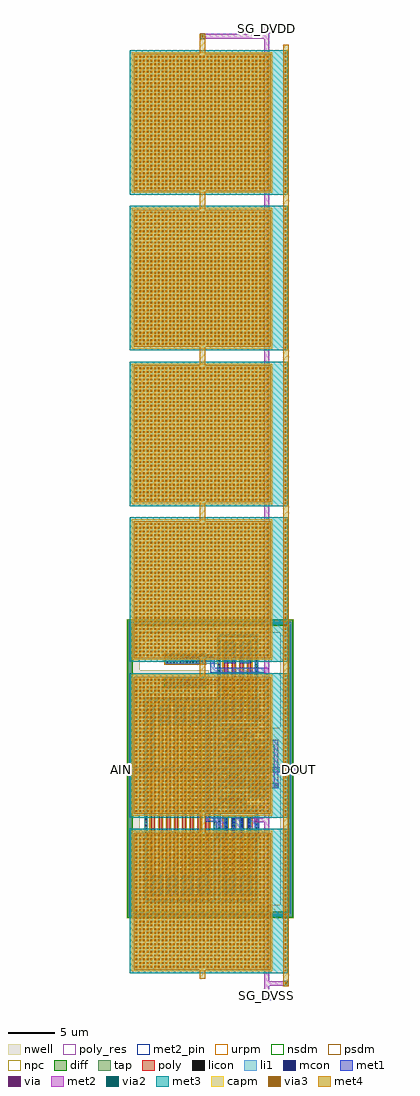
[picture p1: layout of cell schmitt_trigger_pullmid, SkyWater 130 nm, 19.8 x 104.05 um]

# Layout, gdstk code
import gdstk
lib = gdstk.Library(unit=1e-6, precision=1e-09)
def R(c, l, rs):  # rectangles x0, y0, x1, y1
    for r in rs: c.add(gdstk.rectangle(r[:2], r[2:], *l))
def A(c, l, x, y, w, h, nx, ny, dx, dy):  # array of equal rectangles
    R(c, l, [(x+i*dx, y+j*dy, x+i*dx+w, y+j*dy+h) for i in range(nx) for j in range(ny)])
nwell = (64, 20)
diff = (65, 20)
tap = (65, 44)
poly_res = (66, 13)
poly = (66, 20)
licon = (66, 44)
li1 = (67, 20)
mcon = (67, 44)
met1 = (68, 20)
via = (68, 44)
met2_pin = (69, 16)
met2 = (69, 20)
via2 = (69, 44)
met3 = (70, 20)
via3 = (70, 44)
met4 = (71, 20)
urpm = (79, 20)
capm = (89, 44)
nsdm = (93, 44)
psdm = (94, 20)
npc = (95, 20)

schmitt_trigger_pullmid = lib.new_cell('schmitt_trigger_pullmid')
R(schmitt_trigger_pullmid, nwell, [(7.955,-11.245,25.795,-9.815), (7.955,-9.815,9.385,12.7), (24.365,-9.815,25.795,4.6), (17.65,4.6,20.84,6.86), (20.75,4.6,23.01,7.79), (22.6,4.6,25.795,7.7), (17.65,6.8,20.84,9.06), (20.8,7.7,25.795,9.05), (24.365,9.05,25.795,18.965), (7.955,12.7,16.7,15.2), (7.955,15.2,9.385,18.965), (7.955,18.965,9.4,19.18), (24.35,18.965,25.795,19.18), (7.955,19.18,25.795,20.625)])
R(schmitt_trigger_pullmid, diff, [(18.75,0.99,19.75,1.77), (21.49,2.55,22.27,3.55), (18.75,3.09,19.75,3.87), (18.745,5.29,19.745,6.17), (21.44,5.695,22.32,6.695), (18.745,7.49,19.745,8.37)])
R(schmitt_trigger_pullmid, tap, [(8.14,-11.06,25.61,-10.69), (8.14,-10.69,8.51,20.07), (25.24,-10.69,25.61,20.07), (9.94,-9.47,17.4,-9.3), (17.73,-9.47,21.87,-9.3), (9.94,-9.3,10.11,12.02), (17.23,-9.3,17.4,12.02), (17.73,-9.3,17.9,-0.02), (21.7,-9.3,21.87,-0.02), (17.73,-0.02,21.87,0.15), (17.88,0.48,18.05,2.28), (18.05,0.48,20.45,0.65), (20.45,0.48,20.62,2.28), (20.98,1.68,22.78,1.85), (20.98,1.85,21.15,4.25), (22.61,1.85,22.78,4.25), (18.05,2.11,20.45,2.28), (17.88,2.58,18.05,4.38), (18.05,2.58,20.45,2.75), (20.45,2.58,20.62,4.38), (18.05,4.21,20.45,4.38), (20.98,4.25,22.78,4.42), (17.83,4.78,18,6.68), (18,4.78,20.49,4.95), (20.49,4.78,20.66,6.68), (20.93,4.78,22.83,4.95), (20.93,4.95,21.1,7.44), (22.66,4.95,22.83,7.44), (18,6.51,20.49,6.68), (17.83,6.98,18,8.88), (18,6.98,20.49,7.15), (20.49,6.98,20.66,8.88), (20.93,7.44,22.83,7.61), (18,8.71,20.49,8.88), (17.73,9.31,21.87,9.48), (17.73,9.48,17.9,18.76), (21.7,9.48,21.87,18.76), (9.94,12.02,17.4,12.19), (12.08,13.4,16.32,14.4), (12.08,15.9,16.32,16.9), (17.73,18.76,21.87,18.93), (8.14,20.07,25.61,20.44)])
A(schmitt_trigger_pullmid, poly_res, 10.59, -6.74, 0.35, 16.2, 8, 1, 0.83, 0)
A(schmitt_trigger_pullmid, poly_res, 18.38, -6.74, 0.35, 4.16, 4, 2, 0.83, 18.78)
A(schmitt_trigger_pullmid, poly, 10.59, -8.82, 0.35, 20.36, 8, 1, 0.83, 0)
A(schmitt_trigger_pullmid, poly, 18.38, -8.82, 0.35, 8.32, 4, 2, 0.83, 18.78)
A(schmitt_trigger_pullmid, poly, 21.715, 2.11, 0.33, 0.33, 1, 3, 0, 1.55)
R(schmitt_trigger_pullmid, poly, [(18.31,1.215,18.64,1.545), (19.86,1.215,20.19,1.545), (18.64,1.28,19.86,1.48), (21.78,2.44,21.98,3.66), (18.31,3.315,18.64,3.645), (19.86,3.315,20.19,3.645), (18.64,3.38,19.86,3.58), (21.73,5.54,22.03,6.85), (18.26,5.565,18.59,5.895), (19.9,5.565,20.23,5.895), (18.59,5.58,19.9,5.88), (21.715,6.85,22.045,7.18), (18.26,7.765,18.59,8.095), (19.9,7.765,20.23,8.095), (18.59,7.78,19.9,8.08)])
A(schmitt_trigger_pullmid, licon, 8.63, -10.96, 0.17, 0.17, 49, 2, 0.34, 31.13)
A(schmitt_trigger_pullmid, licon, 8.24, -10.525, 0.17, 0.17, 1, 90, 0, 0.34)
A(schmitt_trigger_pullmid, licon, 25.34, -10.525, 0.17, 0.17, 1, 90, 0, 0.34)
A(schmitt_trigger_pullmid, licon, 10.525, -9.47, 0.17, 0.17, 19, 2, 0.34, 21.49)
A(schmitt_trigger_pullmid, licon, 18.355, -9.47, 0.17, 0.17, 9, 2, 0.34, 9.45)
A(schmitt_trigger_pullmid, licon, 9.94, -8.925, 0.17, 0.17, 1, 61, 0, 0.34)
A(schmitt_trigger_pullmid, licon, 17.23, -8.925, 0.17, 0.17, 1, 61, 0, 0.34)
A(schmitt_trigger_pullmid, licon, 17.73, -8.825, 0.17, 0.17, 1, 25, 0, 0.34)
A(schmitt_trigger_pullmid, licon, 21.7, -8.825, 0.17, 0.17, 1, 25, 0, 0.34)
A(schmitt_trigger_pullmid, licon, 10.67, -8.74, 0.19, 2, 8, 2, 0.83, 18.2)
A(schmitt_trigger_pullmid, licon, 18.46, -8.74, 0.19, 2, 4, 2, 0.83, 6.16)
A(schmitt_trigger_pullmid, licon, 18.485, 0.48, 0.17, 0.17, 5, 2, 0.34, 1.63)
A(schmitt_trigger_pullmid, licon, 18.825, 1.05, 0.17, 0.17, 3, 2, 0.34, 0.49)
A(schmitt_trigger_pullmid, licon, 21.795, 2.19, 0.17, 0.17, 1, 3, 0, 1.55)
A(schmitt_trigger_pullmid, licon, 20.98, 2.285, 0.17, 0.17, 1, 5, 0, 0.34)
A(schmitt_trigger_pullmid, licon, 22.61, 2.285, 0.17, 0.17, 1, 5, 0, 0.34)
A(schmitt_trigger_pullmid, licon, 18.485, 2.58, 0.17, 0.17, 5, 2, 0.34, 1.63)
A(schmitt_trigger_pullmid, licon, 21.55, 2.625, 0.17, 0.17, 1, 3, 0, 0.34)
A(schmitt_trigger_pullmid, licon, 22.04, 2.625, 0.17, 0.17, 1, 3, 0, 0.34)
A(schmitt_trigger_pullmid, licon, 18.825, 3.15, 0.17, 0.17, 3, 2, 0.34, 0.49)
A(schmitt_trigger_pullmid, licon, 18.31, 4.78, 0.17, 0.17, 6, 2, 0.34, 1.73)
A(schmitt_trigger_pullmid, licon, 21.455, 4.78, 0.17, 0.17, 3, 2, 0.34, 2.66)
A(schmitt_trigger_pullmid, licon, 20.93, 5.26, 0.17, 0.17, 1, 6, 0, 0.34)
A(schmitt_trigger_pullmid, licon, 22.66, 5.26, 0.17, 0.17, 1, 6, 0, 0.34)
A(schmitt_trigger_pullmid, licon, 17.83, 5.305, 0.17, 0.17, 1, 3, 0, 0.34)
A(schmitt_trigger_pullmid, licon, 20.49, 5.305, 0.17, 0.17, 1, 3, 0, 0.34)
A(schmitt_trigger_pullmid, licon, 18.82, 5.35, 0.17, 0.17, 3, 2, 0.34, 0.59)
A(schmitt_trigger_pullmid, licon, 21.5, 5.77, 0.17, 0.17, 1, 3, 0, 0.34)
A(schmitt_trigger_pullmid, licon, 22.09, 5.77, 0.17, 0.17, 1, 3, 0, 0.34)
A(schmitt_trigger_pullmid, licon, 18.31, 6.98, 0.17, 0.17, 6, 2, 0.34, 1.73)
A(schmitt_trigger_pullmid, licon, 17.83, 7.505, 0.17, 0.17, 1, 3, 0, 0.34)
A(schmitt_trigger_pullmid, licon, 20.49, 7.505, 0.17, 0.17, 1, 3, 0, 0.34)
A(schmitt_trigger_pullmid, licon, 18.82, 7.55, 0.17, 0.17, 3, 2, 0.34, 0.59)
A(schmitt_trigger_pullmid, licon, 18.355, 9.31, 0.17, 0.17, 9, 2, 0.34, 9.45)
A(schmitt_trigger_pullmid, licon, 17.73, 9.955, 0.17, 0.17, 1, 25, 0, 0.34)
A(schmitt_trigger_pullmid, licon, 21.7, 9.955, 0.17, 0.17, 1, 25, 0, 0.34)
A(schmitt_trigger_pullmid, licon, 18.46, 10.04, 0.19, 2, 4, 2, 0.83, 6.16)
A(schmitt_trigger_pullmid, licon, 12.245, 13.475, 0.17, 0.17, 12, 3, 0.34, 0.34)
A(schmitt_trigger_pullmid, licon, 12.245, 15.975, 0.17, 0.17, 12, 3, 0.34, 0.34)
R(schmitt_trigger_pullmid, licon, [(17.88,1.125,18.05,1.295), (20.45,1.125,20.62,1.295), (18.39,1.295,18.56,1.465), (19.94,1.295,20.11,1.465), (17.88,1.465,18.05,1.635), (20.45,1.465,20.62,1.635), (21.625,1.68,21.795,1.85), (21.965,1.68,22.135,1.85), (17.88,3.225,18.05,3.395), (20.45,3.225,20.62,3.395), (18.39,3.395,18.56,3.565), (19.94,3.395,20.11,3.565), (17.88,3.565,18.05,3.735), (20.45,3.565,20.62,3.735), (21.625,4.25,21.795,4.42), (21.965,4.25,22.135,4.42), (18.34,5.645,18.51,5.815), (19.98,5.645,20.15,5.815), (21.795,6.93,21.965,7.1), (18.34,7.845,18.51,8.015), (19.98,7.845,20.15,8.015)])
A(schmitt_trigger_pullmid, li1, 10.59, -8.82, 0.35, 2.16, 8, 2, 0.83, 18.2)
A(schmitt_trigger_pullmid, li1, 18.38, -8.82, 0.35, 2.16, 4, 2, 0.83, 6.16)
A(schmitt_trigger_pullmid, li1, 21.715, 2.19, 0.33, 0.17, 1, 3, 0, 1.55)
A(schmitt_trigger_pullmid, li1, 18.38, 9.96, 0.35, 2.16, 4, 2, 0.83, 6.16)
R(schmitt_trigger_pullmid, li1, [(8.24,-10.96,25.51,-10.79), (8.24,-10.79,8.41,20.17), (25.34,-10.79,25.51,20.17), (9.87,-9.57,21.94,-9.54), (9.84,-9.54,21.97,-9.2), (9.94,-9.47,17.4,-9.3), (17.73,-9.47,21.87,-9.3), (9.94,-9.3,10.11,12.02), (17.23,-9.3,17.4,12.02), (17.73,-9.3,17.9,-0.02), (21.7,-9.3,21.87,-0.02), (9.84,-9.2,10.21,11.92), (17.17,-9.2,18,-0.12), (21.6,-9.2,21.97,-0.12), (17.17,-0.12,21.97,0.22), (17.73,-0.02,21.87,0.15), (17.17,0.22,21.94,0.25), (17.17,0.25,20.72,0.535), (17.88,0.48,18.05,2.28), (18.05,0.48,20.45,0.65), (20.45,0.48,20.62,2.28), (17.17,0.535,17.54,9.21), (17.78,0.535,20.72,0.75), (17.78,0.75,18.15,2.01), (20.35,0.75,20.72,1.58), (18.73,1.05,19.77,1.22), (18.39,1.215,18.56,1.545), (19.94,1.215,20.11,1.545), (18.73,1.54,19.77,1.71), (20.35,1.58,22.85,1.61), (20.35,1.61,22.88,1.95), (20.98,1.68,22.78,1.85), (20.98,1.85,21.15,4.25), (22.61,1.85,22.78,4.25), (20.35,1.95,21.25,2.01), (22.51,1.95,22.88,4.11), (17.78,2.01,21.25,2.85), (18.05,2.11,20.45,2.28), (21.55,2.53,21.72,3.57), (22.04,2.53,22.21,3.57), (17.88,2.58,18.05,4.38), (18.05,2.58,20.45,2.75), (20.45,2.58,20.62,4.38), (17.78,2.85,18.15,4.11), (20.35,2.85,21.25,4.11), (18.73,3.15,19.77,3.32), (18.39,3.315,18.56,3.645), (19.94,3.315,20.11,3.645), (18.73,3.64,19.77,3.81), (17.78,4.11,22.885,4.45), (18.05,4.21,20.45,4.38), (20.98,4.25,22.78,4.42), (17.81,4.45,22.885,4.48), (17.76,4.68,22.935,4.71), (17.73,4.71,22.935,5.05), (17.83,4.78,18,6.68), (18,4.78,20.49,4.95), (20.49,4.78,20.66,6.68), (20.93,4.78,22.83,4.95), (20.93,4.95,21.1,7.44), (22.66,4.95,22.83,7.44), (17.73,5.05,18.1,6.41), (20.39,5.05,21.2,6.41), (22.56,5.05,22.93,7.34), (18.725,5.35,19.765,5.52), (18.34,5.565,18.51,5.895), (19.98,5.565,20.15,5.895), (21.5,5.675,21.67,6.715), (22.09,5.675,22.26,6.715), (18.725,5.94,19.765,6.11), (17.73,6.41,21.2,7.25), (18,6.51,20.49,6.68), (21.715,6.93,22.045,7.1), (17.83,6.98,18,8.88), (18,6.98,20.49,7.15), (20.49,6.98,20.66,8.88), (17.73,7.25,18.1,8.61), (20.39,7.25,21.2,7.34), (20.39,7.34,22.93,7.68), (20.93,7.44,22.83,7.61), (18.725,7.55,19.765,7.72), (20.39,7.68,22.9,7.71), (20.39,7.71,21.55,8.55), (18.34,7.765,18.51,8.095), (19.98,7.765,20.15,8.095), (18.725,8.14,19.765,8.31), (20.39,8.55,20.76,8.61), (17.73,8.61,20.76,8.95), (18,8.71,20.49,8.88), (17.76,8.95,20.73,8.98), (17.17,9.21,21.94,9.24), (17.17,9.24,21.97,9.58), (17.73,9.31,21.87,9.48), (17.73,9.48,17.9,18.76), (21.7,9.48,21.87,18.76), (17.17,9.58,18,11.92), (21.6,9.58,21.97,18.66), (9.84,11.92,18,12.26), (9.94,12.02,17.4,12.19), (9.87,12.26,18,12.29), (17.63,12.29,18,15.9), (12.12,13.4,16.28,14.4), (12.12,15.9,18,16.9), (17.63,16.9,18,18.66), (17.63,18.66,21.97,19), (17.73,18.76,21.87,18.93), (17.66,19,21.94,19.03), (8.24,20.17,25.51,20.34)])
A(schmitt_trigger_pullmid, mcon, 10.68, -8.725, 0.17, 0.17, 8, 6, 0.83, 0.36)
A(schmitt_trigger_pullmid, mcon, 18.47, -8.725, 0.17, 0.17, 4, 6, 0.83, 0.36)
A(schmitt_trigger_pullmid, mcon, 18.47, -2.57, 0.17, 0.17, 4, 6, 0.83, 0.36)
A(schmitt_trigger_pullmid, mcon, 21.795, 2.19, 0.17, 0.17, 1, 3, 0, 1.55)
A(schmitt_trigger_pullmid, mcon, 10.68, 9.47, 0.17, 0.17, 8, 6, 0.83, 0.36)
A(schmitt_trigger_pullmid, mcon, 18.47, 10.055, 0.17, 0.17, 4, 6, 0.83, 0.36)
A(schmitt_trigger_pullmid, mcon, 18.47, 16.21, 0.17, 0.17, 4, 6, 0.83, 0.36)
R(schmitt_trigger_pullmid, mcon, [(18.985,1.05,19.155,1.22), (19.345,1.05,19.515,1.22), (18.39,1.295,18.56,1.465), (19.94,1.295,20.11,1.465), (18.985,1.54,19.155,1.71), (19.345,1.54,19.515,1.71), (21.55,2.785,21.72,2.955), (22.04,2.785,22.21,2.955), (21.55,3.145,21.72,3.315), (22.04,3.145,22.21,3.315), (18.985,3.15,19.155,3.32), (19.345,3.15,19.515,3.32), (18.39,3.395,18.56,3.565), (19.94,3.395,20.11,3.565), (18.985,3.64,19.155,3.81), (19.345,3.64,19.515,3.81), (18.98,5.35,19.15,5.52), (19.34,5.35,19.51,5.52), (18.34,5.645,18.51,5.815), (19.98,5.645,20.15,5.815), (21.5,5.93,21.67,6.1), (22.09,5.93,22.26,6.1), (18.98,5.94,19.15,6.11), (19.34,5.94,19.51,6.11), (21.5,6.29,21.67,6.46), (22.09,6.29,22.26,6.46), (21.795,6.93,21.965,7.1), (18.98,7.55,19.15,7.72), (19.34,7.55,19.51,7.72), (18.34,7.845,18.51,8.015), (19.98,7.845,20.15,8.015), (18.98,8.14,19.15,8.31), (19.34,8.14,19.51,8.31), (21.215,8.215,21.385,8.385), (14.015,13.815,14.185,13.985), (14.065,16.315,14.235,16.485)])
A(schmitt_trigger_pullmid, met1, 10.56, -8.85, 1.25, 2.2, 4, 1, 1.65, 0)
A(schmitt_trigger_pullmid, met1, 10.64, -8.79, 0.25, 2.105, 8, 2, 0.83, 18.195)
A(schmitt_trigger_pullmid, met1, 18.43, -8.79, 0.25, 2.105, 4, 2, 0.83, 6.155)
A(schmitt_trigger_pullmid, met1, 21.735, 2.16, 0.29, 0.23, 1, 3, 0, 1.55)
A(schmitt_trigger_pullmid, met1, 18.43, 9.99, 0.25, 2.105, 4, 2, 0.83, 6.155)
R(schmitt_trigger_pullmid, met1, [(18.35,-8.85,19.6,-6.65), (20,-8.85,21.25,-6.65), (17.5,-2.7,18.75,-0.95), (19.15,-2.7,20.4,-0.5), (20.85,-2.7,22.1,-0.5), (16.36,-0.95,18.75,-0.5), (16.36,-0.5,16.86,9.93), (21.6,-0.5,22.1,-0.47), (18.97,0.3,19.53,0.8), (19,0.8,19.5,1.25), (18.75,1.02,19.75,1.25), (18.36,1.235,18.59,1.525), (19.91,1.235,20.14,1.525), (18.29,1.25,18.61,1.295), (19.12,1.25,19.38,1.265), (19.89,1.25,20.21,1.295), (18.265,1.295,18.61,1.465), (19.89,1.295,20.235,1.465), (18.29,1.465,18.61,1.51), (19.89,1.465,20.21,1.51), (19.12,1.495,19.38,1.5), (19,1.5,19.5,2.65), (18.75,1.51,19.75,1.74), (21.795,2.065,21.965,2.09), (21.75,2.09,22.01,2.41), (21.52,2.55,21.75,3.55), (22.01,2.55,22.24,3.55), (23.65,2.625,24.145,2.65), (19,2.65,21.75,3.15), (22,2.65,24.145,2.92), (21.995,2.92,24.145,3.15), (18.75,3.12,19.75,3.35), (19,3.15,19.5,3.35), (23.65,3.15,24.145,3.18), (18.36,3.335,18.59,3.625), (19.91,3.335,20.14,3.625), (18.29,3.35,18.61,3.395), (19.12,3.35,19.38,3.365), (19.89,3.35,20.21,3.395), (18.265,3.395,18.61,3.565), (19.89,3.395,20.235,3.565), (18.29,3.565,18.61,3.61), (19.89,3.565,20.21,3.61), (19.12,3.595,19.38,3.6), (18.995,3.6,19.495,4.35), (18.75,3.61,19.75,3.84), (21.75,3.69,22.01,3.7), (21.6,3.7,22.16,4.2), (21.63,4.2,22.13,4.35), (10.46,4.32,10.96,11.55), (18.995,4.35,26.28,4.85), (18.995,4.85,19.495,5.55), (21.63,4.85,22.13,5.05), (21.6,5.05,22.16,5.55), (18.745,5.32,19.745,5.55), (19.115,5.55,19.38,5.565), (19.12,5.565,19.38,5.58), (18.31,5.585,18.54,5.875), (19.95,5.585,20.18,5.875), (18.265,5.6,18.585,5.86), (19.905,5.6,20.225,5.86), (21.47,5.695,21.7,6.695), (22.06,5.695,22.29,6.695), (19.115,5.895,19.375,5.9), (18.995,5.9,19.495,6.05), (18.745,5.91,19.745,6.14), (18.995,6.05,21.6,6.55), (22.15,6.05,23.18,6.55), (18.995,6.55,19.495,7.75), (22.65,6.55,23.15,14.95), (21.75,6.855,22.01,7.175), (21.735,6.9,22.025,7.13), (18.745,7.52,19.745,7.75), (19.115,7.75,19.375,7.765), (18.31,7.785,18.54,8.075), (19.95,7.785,20.18,8.075), (18.265,7.8,18.585,8.06), (19.905,7.8,20.225,8.06), (21.02,8.05,21.58,8.55), (19.115,8.095,19.375,8.1), (18.995,8.1,19.495,8.15), (18.745,8.11,19.745,8.34), (18.995,8.15,19.5,9.13), (18.995,9.13,19.495,9.15), (11.36,9.35,12.61,11.55), (13.06,9.35,14.31,11.55), (14.71,9.35,15.96,11.55), (21.605,9.9,22.1,9.93), (16.36,9.93,18.75,11.55), (19.15,9.93,20.4,12.13), (20.85,9.93,22.1,12.13), (17.49,11.55,18.75,11.58), (17.5,11.58,18.75,12.13), (13.85,13.62,14.35,13.65), (13.82,13.65,14.38,14.15), (13.85,14.15,14.35,14.18), (16.85,14.95,23.15,15.45), (16.85,15.45,17.35,16.15), (18.35,15.93,19.6,18.13), (20,15.93,21.25,18.13), (13.87,16.15,17.35,16.65)])
R(schmitt_trigger_pullmid, via, [(21.775,-0.825,21.925,-0.675), (19.175,0.475,19.325,0.625), (18.375,1.305,18.525,1.455), (19.975,1.305,20.125,1.455), (21.805,2.175,21.955,2.325), (23.82,2.825,23.97,2.975), (18.375,3.405,18.525,3.555), (19.975,3.405,20.125,3.555), (21.805,3.875,21.955,4.025), (10.635,4.525,10.785,4.675), (25.925,4.525,26.075,4.675), (21.805,5.225,21.955,5.375), (18.35,5.655,18.5,5.805), (19.99,5.655,20.14,5.805), (22.825,6.225,22.975,6.375), (21.805,6.94,21.955,7.09), (18.35,7.855,18.5,8.005), (19.99,7.855,20.14,8.005), (21.225,8.225,21.375,8.375), (19.17,8.775,19.32,8.925), (21.775,10.1,21.925,10.25), (14.025,13.825,14.175,13.975)])
R(schmitt_trigger_pullmid, met2_pin, [(22.4,-19.95,23.4,-18.95), (6.95,4.1,7.95,5.1), (25.75,4.1,26.75,5.1), (22.4,83.1,23.4,84.1)])
R(schmitt_trigger_pullmid, met2, [(22.4,-19.95,23.4,-18.95), (22.65,-18.95,23.15,-18.45), (24.7,-18.495,25.2,-18.45), (22.65,-18.45,25.2,-17.95), (22.65,-17.95,23.15,-1), (24.7,-17.95,25.2,-17.905), (21.57,-1,23.15,-0.5), (22.65,-0.5,23.15,0.3), (19,0.27,19.5,0.3), (19,0.3,23.15,0.8), (19,0.8,19.5,0.83), (22.65,0.8,23.15,6.58), (17.65,1.13,20.3,1.63), (17.65,1.63,18.15,3.23), (21.63,2,22.13,4.23), (23.62,2.655,24.175,3.15), (23.65,3.15,24.145,7.3), (17.65,3.23,20.3,3.73), (17.65,3.73,18.15,4.35), (6.95,4.1,7.95,4.35), (25.75,4.1,26.75,5.1), (6.95,4.35,18.15,4.85), (6.95,4.85,7.95,5.1), (17.65,4.85,18.15,5.48), (21.63,5.02,22.13,7.3), (17.65,5.48,20.3,5.98), (17.65,5.98,18.15,7.68), (22.65,7.3,24.145,7.8), (17.65,7.68,20.3,8.18), (22.65,7.8,23.15,8.6), (21.05,8.02,21.55,8.6), (18.95,8.6,23.15,9.1), (22.65,9.1,23.15,9.93), (21.575,9.93,23.15,10.425), (22.65,10.425,23.15,13.65), (13.82,13.65,23.15,14.15), (22.65,14.15,23.15,82.55), (15.8,82.505,16.3,82.55), (15.8,82.55,23.15,83.05), (15.8,83.05,16.3,83.095), (22.4,83.05,23.15,83.1), (22.4,83.1,23.4,84.1)])
R(schmitt_trigger_pullmid, via2, [(24.85,-18.3,25.05,-18.1), (15.95,82.7,16.15,82.9)])
A(schmitt_trigger_pullmid, met3, 8.3, -17.1, 16.86, 15.4, 1, 6, 0, 16.6)
R(schmitt_trigger_pullmid, met3, [(24.675,-18.475,25.225,-17.895), (15.775,82.495,16.325,83.075)])
A(schmitt_trigger_pullmid, via3, 24.8, -16.9, 0.2, 0.2, 1, 38, 0, 0.4)
A(schmitt_trigger_pullmid, via3, 8.9, -16.5, 0.2, 0.2, 36, 36, 0.4, 0.4)
A(schmitt_trigger_pullmid, via3, 24.8, -0.3, 0.2, 0.2, 1, 38, 0, 0.4)
A(schmitt_trigger_pullmid, via3, 8.9, 0.1, 0.2, 0.2, 36, 36, 0.4, 0.4)
A(schmitt_trigger_pullmid, via3, 24.8, 16.3, 0.2, 0.2, 1, 38, 0, 0.4)
A(schmitt_trigger_pullmid, via3, 8.9, 16.7, 0.2, 0.2, 36, 36, 0.4, 0.4)
A(schmitt_trigger_pullmid, via3, 24.8, 32.9, 0.2, 0.2, 1, 38, 0, 0.4)
A(schmitt_trigger_pullmid, via3, 8.9, 33.3, 0.2, 0.2, 36, 36, 0.4, 0.4)
A(schmitt_trigger_pullmid, via3, 24.8, 49.5, 0.2, 0.2, 1, 38, 0, 0.4)
A(schmitt_trigger_pullmid, via3, 8.9, 49.9, 0.2, 0.2, 36, 36, 0.4, 0.4)
A(schmitt_trigger_pullmid, via3, 24.8, 66.1, 0.2, 0.2, 1, 38, 0, 0.4)
A(schmitt_trigger_pullmid, via3, 8.9, 66.5, 0.2, 0.2, 36, 36, 0.4, 0.4)
R(schmitt_trigger_pullmid, via3, [(24.85,-18.275,25.05,-18.075), (15.95,82.675,16.15,82.875)])
A(schmitt_trigger_pullmid, met4, 8.695, -16.705, 14.61, 14.61, 1, 6, 0, 16.6)
A(schmitt_trigger_pullmid, met4, 15.74, -2.095, 0.52, 1.99, 1, 5, 0, 16.6)
R(schmitt_trigger_pullmid, met4, [(24.65,-18.475,25.25,81.9), (15.74,-17.7,16.26,-16.705), (15.75,-17.7,16.35,83.075), (24.64,-17.7,25.16,81.9), (15.74,80.905,16.26,81.9)])
R(schmitt_trigger_pullmid, urpm, [(10.39,-9.02,16.95,11.74), (18.18,-9.02,21.42,-0.3), (18.18,9.76,21.42,18.48)])
A(schmitt_trigger_pullmid, capm, 8.5, -16.9, 15, 15, 1, 6, 0, 16.6)
R(schmitt_trigger_pullmid, nsdm, [(8.015,-11.185,25.735,-10.565), (8.015,-10.565,8.635,19.945), (25.115,-10.565,25.735,19.945), (18.625,0.865,19.875,1.895), (21.365,2.425,22.395,3.675), (18.625,2.965,19.875,3.995), (17.705,4.655,18.125,6.805), (18.125,4.655,20.365,5.075), (20.365,4.655,20.785,6.805), (20.785,4.655,20.805,6.805), (20.805,4.655,22.955,5.075), (20.805,5.075,21.225,7.315), (22.535,5.075,22.955,7.315), (18.125,6.385,20.365,6.805), (17.705,6.805,20.805,6.855), (17.705,6.855,18.125,9.005), (18.125,6.855,20.365,7.275), (20.365,6.855,20.785,9.005), (20.785,6.855,20.805,7.735), (20.805,7.315,22.955,7.735), (18.125,8.585,20.365,9.005), (11.955,13.275,16.445,14.525), (8.015,19.945,25.735,20.565)])
R(schmitt_trigger_pullmid, psdm, [(9.815,-9.595,17.525,12.315), (17.525,-9.595,17.605,0.275), (17.605,-9.595,21.995,0.275), (17.525,0.275,20.745,0.355), (17.525,0.355,17.755,2.405), (17.755,0.355,18.175,2.405), (18.175,0.355,20.325,0.775), (20.325,0.355,20.745,2.405), (20.745,1.555,20.855,2.405), (20.855,1.555,22.905,1.975), (20.855,1.975,21.275,4.125), (22.485,1.975,22.905,4.125), (18.175,1.985,20.325,2.405), (17.525,2.405,20.855,2.455), (17.525,2.455,17.755,4.505), (17.755,2.455,18.175,4.505), (18.175,2.455,20.325,2.875), (20.325,2.455,20.745,4.505), (20.745,2.455,20.855,4.505), (18.175,4.085,20.325,4.505), (20.855,4.125,22.905,4.545), (18.62,5.165,19.87,6.295), (21.315,5.57,22.445,6.82), (18.62,7.365,19.87,8.495), (17.525,9.185,17.605,12.315), (17.605,9.185,21.995,19.055), (11.955,15.775,16.445,17.025)])
A(schmitt_trigger_pullmid, npc, 10.495, -8.915, 0.54, 20.55, 8, 1, 0.83, 0)
A(schmitt_trigger_pullmid, npc, 18.285, -8.915, 0.54, 8.51, 4, 2, 0.83, 18.78)
A(schmitt_trigger_pullmid, npc, 21.695, 2.09, 0.37, 0.37, 1, 3, 0, 1.55)
R(schmitt_trigger_pullmid, npc, [(18.29,1.195,18.66,1.565), (19.84,1.195,20.21,1.565), (18.29,3.295,18.66,3.665), (19.84,3.295,20.21,3.665), (18.24,5.545,18.61,5.915), (19.88,5.545,20.25,5.915), (21.695,6.83,22.065,7.2), (18.24,7.745,18.61,8.115), (19.88,7.745,20.25,8.115)])
schmitt_trigger_pullmid.add(gdstk.Label('SG_DVSS', (22.9,-19.45), layer=69, texttype=5))
schmitt_trigger_pullmid.add(gdstk.Label('DOUT', (26.25,4.6), layer=69, texttype=5))
schmitt_trigger_pullmid.add(gdstk.Label('AIN', (7.45,4.6), layer=69, texttype=5))
schmitt_trigger_pullmid.add(gdstk.Label('SG_DVDD', (22.9,83.6), layer=69, texttype=5))

lib.write_gds('schmitt_trigger_pullmid.gds')
